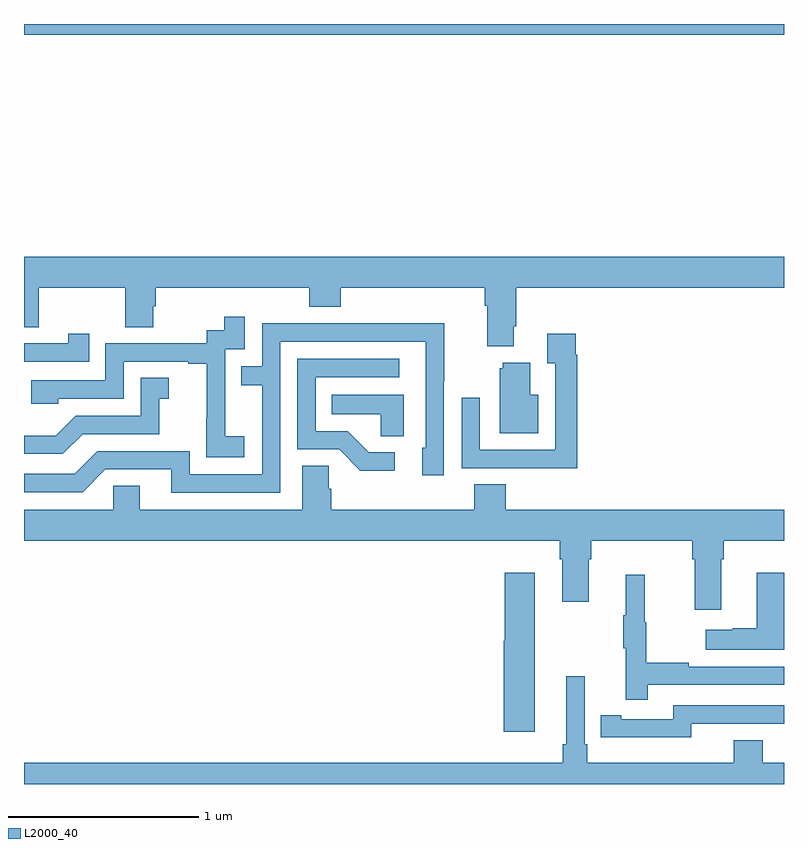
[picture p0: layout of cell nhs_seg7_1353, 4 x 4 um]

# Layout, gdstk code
import gdstk
lib = gdstk.Library(unit=1e-6, precision=1e-09)
def R(c, l, rs):  # rectangles x0, y0, x1, y1
    for r in rs: c.add(gdstk.rectangle(r[:2], r[2:], *l))
def P(c, l, *ps):  # polygons
    for p in ps: c.add(gdstk.Polygon(p, *l))
L2000_40 = (2000, 40)

nhs_seg7_1353 = lib.new_cell('nhs_seg7_1353')
R(nhs_seg7_1353, L2000_40, [(205,1005.944,209,1006)])
P(nhs_seg7_1353, L2000_40, [(207.577,1004.41),(207.59,1004.41),(207.59,1004.612),(209,1004.612),(209,1004.776),(205,1004.776),(205,1004.404),(205.077,1004.404),(205.077,1004.612),(205.534,1004.612),(205.534,1004.404),(205.681,1004.404),(205.681,1004.514),(205.694,1004.514),(205.694,1004.612),(206.501,1004.612),(206.501,1004.513),(206.666,1004.513),(206.666,1004.612),(207.425,1004.612),(207.425,1004.516),(207.437,1004.516),(207.437,1004.303),(207.577,1004.303)],
  [(206.158,1003.831),(206.06,1003.831),(206.06,1004.06),(206.058,1004.06),(206.058,1004.289),(206.163,1004.289),(206.163,1004.458),(206.055,1004.458),(206.055,1004.388),(205.962,1004.388),(205.962,1004.319),(205.428,1004.319),(205.428,1004.124),(205.039,1004.124),(205.039,1004.001),(205.179,1004.001),(205.179,1004.028),(205.524,1004.028),(205.524,1004.223),(205.865,1004.223),(205.865,1004.211),(205.961,1004.211),(205.961,1003.927),(205.96,1003.927),(205.96,1003.721),(206.158,1003.721)],
  [(206.349,1004.328),(207.114,1004.328),(207.114,1003.77),(207.095,1003.77),(207.095,1003.626),(207.21,1003.626),(207.21,1004.119),(207.213,1004.119),(207.213,1004.426),(206.749,1004.426),(206.749,1004.424),(206.253,1004.424),(206.253,1004.199),(206.143,1004.199),(206.143,1004.098),(206.253,1004.098),(206.253,1003.629),(205.872,1003.629),(205.872,1003.752),(205.386,1003.752),(205.266,1003.632),(205,1003.632),(205,1003.536),(205.308,1003.536),(205.428,1003.656),(205.775,1003.656),(205.775,1003.533),(206.349,1003.533)],
  [(205.343,1004.371),(205.232,1004.371),(205.232,1004.319),(205,1004.319),(205,1004.223),(205.343,1004.223)],
  [(207.911,1004.258),(207.904,1004.258),(207.904,1004.371),(207.755,1004.371),(207.755,1004.215),(207.795,1004.215),(207.795,1003.758),(207.399,1003.758),(207.399,1004.032),(207.303,1004.032),(207.303,1003.662),(207.619,1003.662),(207.619,1003.661),(207.911,1003.661)],
  [(206.95,1003.746),(206.815,1003.746),(206.704,1003.857),(206.535,1003.857),(206.535,1004.142),(206.974,1004.142),(206.974,1004.238),(206.439,1004.238),(206.439,1003.761),(206.658,1003.761),(206.771,1003.649),(206.95,1003.649)],
  [(207.706,1004.05),(207.664,1004.05),(207.664,1004.218),(207.521,1004.218),(207.521,1004.187),(207.503,1004.187),(207.503,1003.847),(207.706,1003.847)],
  [(205.309,1003.842),(205.713,1003.842),(205.713,1004.027),(205.762,1004.027),(205.762,1004.137),(205.614,1004.137),(205.614,1003.938),(205.272,1003.938),(205.168,1003.834),(205,1003.834),(205,1003.737),(205.204,1003.737)],
  [(206.998,1004.05),(206.62,1004.05),(206.62,1003.946),(206.877,1003.946),(206.877,1003.831),(206.998,1003.831)],
  [(207.536,1003.577),(207.371,1003.577),(207.371,1003.444),(206.618,1003.444),(206.618,1003.553),(206.604,1003.553),(206.604,1003.676),(206.465,1003.676),(206.465,1003.444),(205.609,1003.444),(205.609,1003.571),(205.47,1003.571),(205.47,1003.444),(205,1003.444),(205,1003.28),(207.821,1003.28),(207.821,1003.184),(207.833,1003.184),(207.833,1002.96),(207.973,1002.96),(207.973,1003.184),(207.986,1003.184),(207.986,1003.28),(208.517,1003.28),(208.517,1003.184),(208.529,1003.184),(208.529,1002.918),(208.669,1002.918),(208.669,1003.184),(208.682,1003.184),(208.682,1003.28),(209,1003.28),(209,1003.444),(207.536,1003.444)],
  [(207.688,1003.111),(207.53,1003.111),(207.53,1002.753),(207.524,1002.753),(207.524,1002.276),(207.688,1002.276)],
  [(209,1003.111),(208.856,1003.111),(208.856,1002.821),(208.73,1002.821),(208.73,1002.811),(208.587,1002.811),(208.587,1002.707),(209,1002.707)],
  [(208.283,1002.522),(209,1002.522),(209,1002.618),(208.499,1002.618),(208.499,1002.638),(208.276,1002.638),(208.276,1002.852),(208.268,1002.852),(208.268,1003.102),(208.166,1003.102),(208.166,1002.889),(208.155,1002.889),(208.155,1002.715),(208.166,1002.715),(208.166,1002.444),(208.283,1002.444)],
  [(209,1002.112),(208.889,1002.112),(208.889,1002.229),(208.736,1002.229),(208.736,1002.112),(207.965,1002.112),(207.965,1002.208),(207.951,1002.208),(207.951,1002.568),(207.854,1002.568),(207.854,1002.208),(207.835,1002.208),(207.835,1002.112),(205,1002.112),(205,1002),(209,1002)],
  [(208.512,1002.318),(208.972,1002.318),(208.972,1002.317),(209,1002.317),(209,1002.414),(208.416,1002.414),(208.416,1002.342),(208.144,1002.342),(208.144,1002.362),(208.036,1002.362),(208.036,1002.246),(208.144,1002.246),(208.144,1002.245),(208.512,1002.245)])

lib.write_gds('nhs_seg7_1353.gds')
